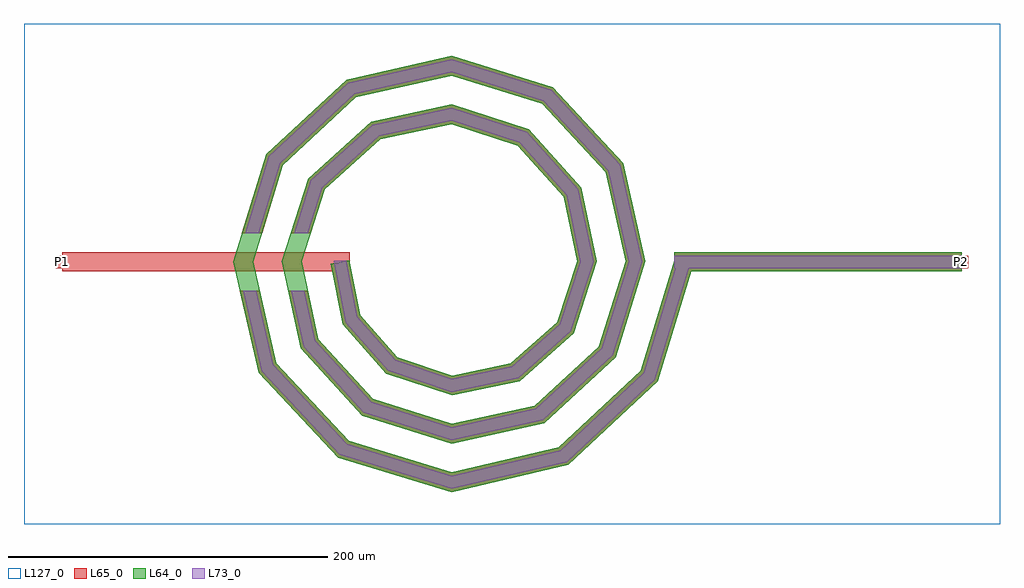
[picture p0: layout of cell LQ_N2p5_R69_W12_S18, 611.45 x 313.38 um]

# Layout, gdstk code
import gdstk
lib = gdstk.Library(unit=1e-6, precision=1e-09)
def R(c, l, rs):  # rectangles x0, y0, x1, y1
    for r in rs: c.add(gdstk.rectangle(r[:2], r[2:], *l))
def P(c, l, *ps):  # polygons
    for p in ps: c.add(gdstk.Polygon(p, *l))
L64_0 = (64, 0)
L65_0 = (65, 0)
L73_0 = (73, 0)
L127_0 = (127, 0)

lq_n2p5_r69_w12_s18 = lib.new_cell('LQ_N2p5_R69_W12_S18')
R(lq_n2p5_r69_w12_s18, L64_0, [(139.656,-6,319.656,6)])
P(lq_n2p5_r69_w12_s18, L64_0, [(-57.061,-33.411),(-33.986,-59.648),(0.378,-71.178),(37.17,-63.648),(66.198,-37.809),(78.762,0.345),(70.232,40.935),(41.628,72.752),(0.316,86.347),(-44.705,76.815),(-79.308,45.442),(-93.933,0.292),(-83.395,-48.478),(-49.254,-85.867),(0.272,-101.518),(52.253,-89.974),(92.427,-53.063),(109.103,0.254),(96.552,56.031),(56.87,98.988),(0.238,116.689),(-59.811,103.129),(-105.55,60.675),(-124.275,0.225),(-109.705,-63.593),(-64.479,-112.113),(0.212,-131.861),(67.375,-116.281),(118.677,-68.282),(139.914,1.741),(151.397,-1.741),(129.226,-74.845),(73.223,-127.243),(0.212,-144.278),(-71.062,-122.65),(-120.678,-69.419),(-136.691,0.225),(-116.074,67.28),(-65.615,114.115),(0.238,129.105),(63.499,109.496),(107.552,61.808),(121.518,0.254),(102.918,-59.719),(58,-100.99),(0.272,-113.931),(-55.942,-96.338),(-94.429,-54.189),(-106.344,0.292),(-89.756,52.167),(-50.376,87.87),(0.316,98.757),(48.395,83.173),(81.313,46.559),(91.169,0.345),(76.587,-44.628),(42.738,-74.757),(0.378,-83.581),(-40.865,-69.997),(-68.205,-38.911),(-75.679,-1.165),(-63.908,1.165)])
R(lq_n2p5_r69_w12_s18, L65_0, [(-243.793,-6,-63.793,6), (139.656,-6,319.656,6), (-247.793,-4,-239.793,4), (315.656,-4,323.656,4)])
P(lq_n2p5_r69_w12_s18, L65_0, [(-109.705,-63.593),(-64.479,-112.113),(0.212,-131.861),(67.375,-116.281),(118.677,-68.282),(139.914,1.741),(151.397,-1.741),(129.226,-74.845),(73.223,-127.243),(0.212,-144.278),(-71.062,-122.65),(-120.678,-69.419),(-132.501,-18),(-120.188,-18)],
  [(-83.395,-48.478),(-49.254,-85.867),(0.272,-101.518),(52.253,-89.974),(92.427,-53.063),(109.104,0.254),(96.552,56.031),(56.87,98.988),(0.238,116.689),(-59.811,103.129),(-105.55,60.675),(-118.671,18),(-131.226,18),(-116.074,67.28),(-65.615,114.115),(0.238,129.105),(63.499,109.496),(107.552,61.808),(121.518,0.254),(102.918,-59.719),(58,-100.99),(0.272,-113.931),(-55.942,-96.338),(-94.43,-54.19),(-102.344,-18),(-90.06,-18)],
  [(-33.986,-59.648),(0.378,-71.178),(37.17,-63.648),(66.198,-37.81),(78.762,0.345),(70.232,40.935),(41.628,72.752),(0.316,86.347),(-44.705,76.815),(-79.308,45.442),(-88.083,18),(-100.682,18),(-89.756,52.167),(-50.376,87.87),(0.316,98.757),(48.396,83.173),(81.313,46.559),(91.169,0.345),(76.587,-44.628),(42.738,-74.757),(0.378,-83.581),(-40.865,-69.998),(-68.205,-38.911),(-75.679,-1.166),(-63.908,1.166),(-57.061,-33.411)])
R(lq_n2p5_r69_w12_s18, L73_0, [(139.656,-4,319.656,4)])
P(lq_n2p5_r69_w12_s18, L73_0, [(-111.534,-64.564),(-65.576,-113.869),(0.142,-133.93),(68.35,-118.108),(120.435,-69.376),(141.828,1.161),(149.484,-1.161),(127.468,-73.751),(72.248,-125.416),(0.142,-142.209),(-69.965,-120.894),(-118.85,-68.448),(-130.449,-18),(-122.24,-18)],
  [(-85.234,-49.43),(-50.368,-87.612),(0.181,-103.587),(53.211,-91.81),(94.175,-54.172),(111.173,0.169),(98.385,56.994),(57.974,100.739),(0.159,118.759),(-60.778,104.96),(-107.304,61.776),(-120.764,18),(-129.134,18),(-114.32,66.179),(-64.647,112.284),(0.159,127.036),(62.394,107.745),(105.719,60.845),(119.449,0.169),(101.169,-58.61),(57.042,-99.154),(0.181,-111.862),(-54.827,-94.593),(-92.59,-53.238),(-100.296,-18),(-92.107,-18)],
  [(-35.133,-61.373),(0.252,-73.245),(38.098,-65.5),(67.93,-38.946),(80.83,0.23),(72.079,41.873),(42.756,74.489),(0.211,88.416),(-45.65,78.657),(-81.05,46.563),(-90.183,18),(-98.582,18),(-88.015,51.047),(-49.431,86.028),(0.211,96.689),(47.268,81.436),(79.466,45.622),(89.102,0.23),(74.856,-43.491),(41.81,-72.906),(0.252,-81.514),(-39.718,-68.273),(-66.347,-37.994),(-73.717,0.777),(-65.87,0.777),(-58.918,-34.328)])
R(lq_n2p5_r69_w12_s18, L127_0, [(-267.793,-164.278,343.656,149.105)])
lq_n2p5_r69_w12_s18.add(gdstk.Label('P2', (319.656,0), layer=65, texttype=0))
lq_n2p5_r69_w12_s18.add(gdstk.Label('P1', (-243.793,0), layer=65, texttype=0))
lq_n2p5_r69_w12_s18.add(gdstk.Label('P2', (323.656,0), layer=145, texttype=0))
lq_n2p5_r69_w12_s18.add(gdstk.Label('P1', (-247.793,0), layer=145, texttype=0))

lib.write_gds('LQ_N2p5_R69_W12_S18.gds')
